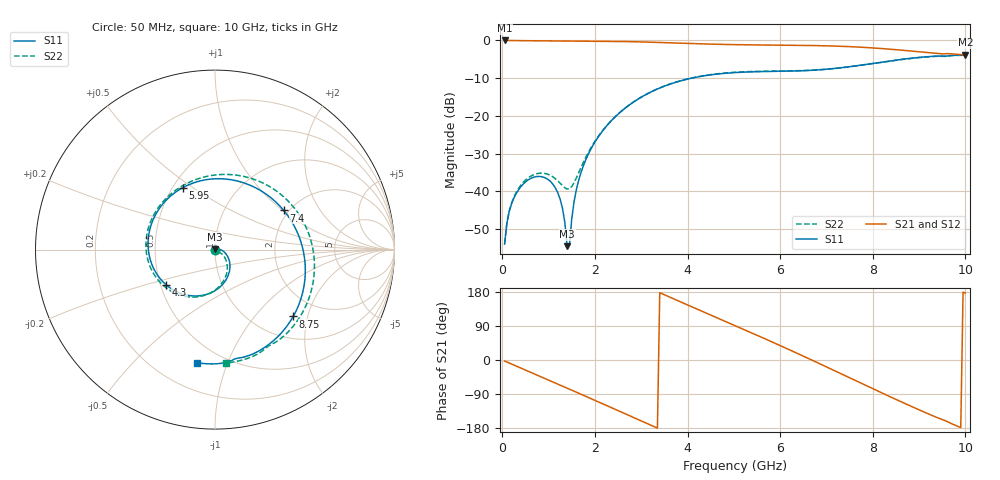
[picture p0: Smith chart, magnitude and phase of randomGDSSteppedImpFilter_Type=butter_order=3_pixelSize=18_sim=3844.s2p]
! freq	dB(S11)	phase(S11)	dB(S12)	phase(S12)
!  dB(S21)	phase(S21)	dB(S22)	phase(S22)
!S-par simulation data
#  GHz  S  DB  R 50
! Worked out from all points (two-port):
!   200 points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, 50 MHz to 10 GHz, reference 50 ohm
!   highest |S21| = -0.02 dB at 50 MHz (marker M1); lowest = -3.8 dB at 10 GHz (marker M2)
!   |S21| within 3 dB of the highest: start of sweep to 9.009 GHz
!   lowest |S11| = -54.5 dB at 1.4 GHz (marker M3), VSWR 1.00, Z = 49.8 + j0.0738 ohm
!   |S11| at or under -10 dB: start of sweep to 4.088 GHz
!   |S22| runs from -53.8 to -4.0 dB; largest |S21 - S12| = 0
!   S11 on the Smith chart (normalised r, x): 50 MHz: 1.00, -0.00; 4.3 GHz: 0.54, -0.24; 5.95 GHz: 0.56, +0.46; 7.4 GHz: 1.88, +1.02; 8.75 GHz: 1.47, -1.63; 10 GHz: 0.37, -0.79
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0.05  -53.94 -58.7  -0.02 -2.7  -0.02 -2.7  -53.83 -58.3
0.15  -45.28 -63.2  -0.04 -8.0  -0.04 -8.0  -45.14 -61.8
0.3  -40.56 -79.6  -0.06 -16.0  -0.06 -16.0  -40.24 -76.2
0.8  -36.01 -121.4  -0.11 -42.4  -0.11 -42.4  -35.17 -107.0
1.2  -40.38 -151.0  -0.13 -63.7  -0.13 -63.7  -37.21 -109.6
1.3  -44.46 -162.1  -0.14 -69.0  -0.14 -69.0  -38.47 -101.2
1.4  -54.48 156.9  -0.15 -74.3  -0.15 -74.3  -39.36 -84.4
1.45  -54.26 70.6  -0.15 -77.0  -0.15 -77.0  -39.28 -73.3
1.5  -47.20 36.6  -0.15 -79.7  -0.15 -79.7  -38.69 -62.1
1.6  -39.49 19.6  -0.16 -85.0  -0.16 -85.0  -36.39 -44.5
1.75  -33.21 6.9  -0.17 -93.0  -0.17 -93.0  -32.28 -32.9
2.1  -25.06 -15.9  -0.21 -111.9  -0.21 -111.9  -24.93 -35.2
2.65  -17.96 -48.8  -0.31 -141.7  -0.31 -141.7  -17.94 -57.3
3.4  -12.60 -92.3  -0.55 177.6  -0.55 177.6  -12.57 -93.3
4.3  -9.50 -143.9  -0.92 129.3  -0.92 129.3  -9.44 -137.0
5.05  -8.50 172.4  -1.13 89.5  -1.13 89.5  -8.42 -172.6
5.95  -8.20 117.6  -1.25 40.9  -1.25 40.9  -8.12 144.5
6.7  -7.91 70.9  -1.36 -1.0  -1.36 -1.0  -7.88 106.6
7.4  -7.12 29.7  -1.60 -41.1  -1.60 -41.1  -7.14 67.4
8.35  -5.47 -20.7  -2.31 -95.6  -2.31 -95.6  -5.52 9.6
8.75  -4.83 -40.5  -2.73 -117.9  -2.73 -117.9  -4.88 -14.7
10  -3.91 -98.8  -3.82 176.6  -3.82 176.6  -3.95 -84.4
